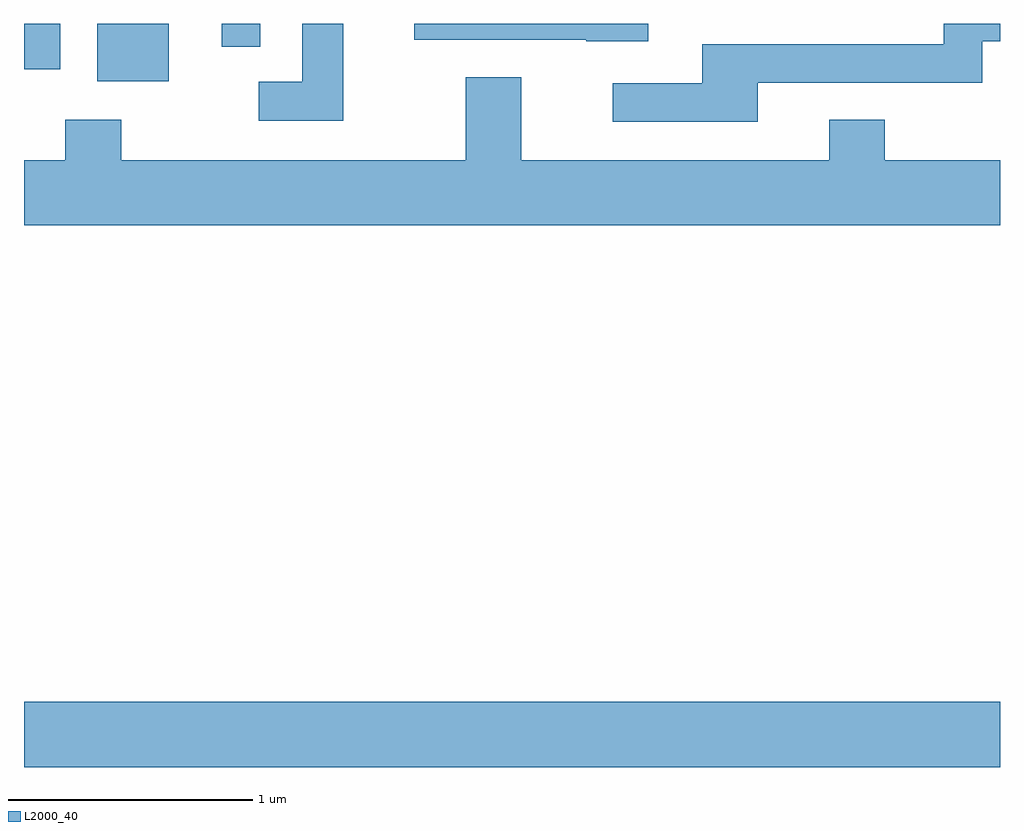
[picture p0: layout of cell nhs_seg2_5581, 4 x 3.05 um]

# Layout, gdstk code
import gdstk
lib = gdstk.Library(unit=1e-6, precision=1e-09)
def R(c, l, rs):  # rectangles x0, y0, x1, y1
    for r in rs: c.add(gdstk.rectangle(r[:2], r[2:], *l))
def P(c, l, *ps):  # polygons
    for p in ps: c.add(gdstk.Polygon(p, *l))
L2000_40 = (2000, 40)

nhs_seg2_5581 = lib.new_cell('nhs_seg2_5581')
R(nhs_seg2_5581, L2000_40, [(349.611,1052.756,353.611,1053.024), (349.911,1055.566,350.204,1055.802), (349.611,1055.616,349.759,1055.802), (350.421,1055.708,350.579,1055.802)])
P(nhs_seg2_5581, L2000_40, [(350.919,1055.802),(350.751,1055.802),(350.751,1055.564),(350.573,1055.564),(350.573,1055.406),(350.919,1055.406)],
  [(352.619,1055.561),(353.539,1055.561),(353.539,1055.731),(353.611,1055.731),(353.611,1055.802),(353.381,1055.802),(353.381,1055.719),(352.391,1055.719),(352.391,1055.559),(352.023,1055.559),(352.023,1055.401),(352.619,1055.401)],
  [(352.169,1055.802),(351.211,1055.802),(351.211,1055.736),(351.915,1055.736),(351.915,1055.731),(352.169,1055.731)],
  [(353.611,1055.244),(353.139,1055.244),(353.139,1055.409),(352.911,1055.409),(352.911,1055.244),(351.649,1055.244),(351.649,1055.584),(351.421,1055.584),(351.421,1055.244),(350.009,1055.244),(350.009,1055.409),(349.781,1055.409),(349.781,1055.244),(349.611,1055.244),(349.611,1054.976),(353.611,1054.976)])

lib.write_gds('nhs_seg2_5581.gds')
